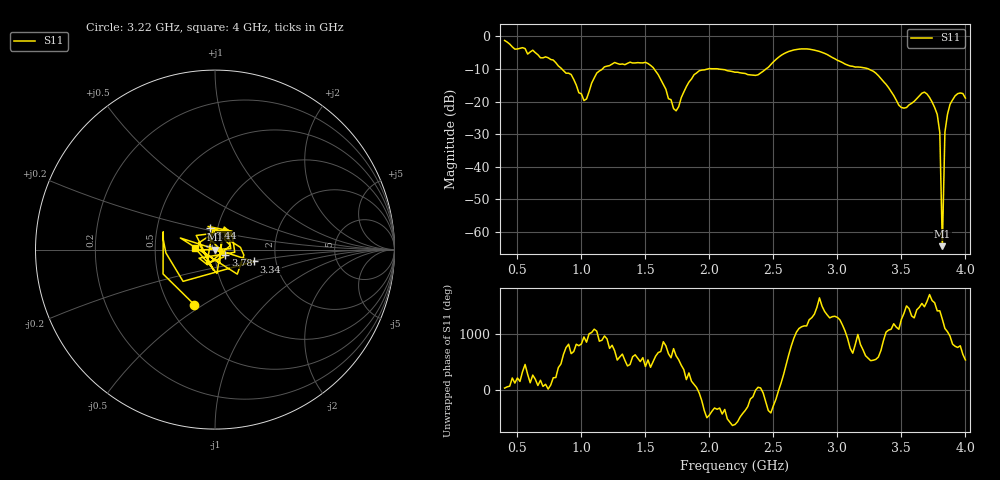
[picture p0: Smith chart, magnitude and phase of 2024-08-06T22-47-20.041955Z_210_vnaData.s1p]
!Created with skrf (http://scikit-rf.org).
# Hz S RI R 50.0
!freq ReS11 ImS11
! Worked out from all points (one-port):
!   181 points, 400 MHz to 4 GHz, reference 50 ohm
!   lowest |S11| = -64.4 dB at 3.82 GHz (marker M1), VSWR 1.00, Z = 49.9 - j0.0037 ohm
!   |S11| at or under -10 dB: 1.569 GHz to 1.984 GHz (415.6 MHz wide, 23.4 % of centre); 2.074 GHz to 2.441 GHz (367.1 MHz wide, 16.3 % of centre); 3.244 GHz to end of sweep (the widest 3 of 4)
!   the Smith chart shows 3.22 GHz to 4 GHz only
!   S11 on the Smith chart (normalised r, x): 3.22 GHz: 0.67, -0.46; 3.34 GHz: 1.53, -0.21; 3.44 GHz: 0.92, +0.23; 3.78 GHz: 1.12, -0.06; 4 GHz: 0.80, +0.02
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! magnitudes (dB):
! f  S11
! 400 MHz  -1.2
! 860 MHz  -10.5
! 920 MHz  -11.7
! 1.02 GHz  -19.7
! 1.12 GHz  -11.2
! 1.3 GHz  -8.5
! 1.52 GHz  -8.3
! 1.6 GHz  -11.7
! 1.72 GHz  -22.1
! 1.76 GHz  -21.6
! 1.92 GHz  -10.5
! 2.2 GHz  -11.0
! 2.38 GHz  -11.8
! 2.66 GHz  -4.1
! 3.1 GHz  -9.1
! 3.22 GHz  -9.7
! 3.34 GHz  -12.9
! 3.44 GHz  -18.1
! 3.5 GHz  -21.8
! 3.56 GHz  -21.0
! 3.68 GHz  -17.1
! 3.78 GHz  -23.9
! 3.8 GHz  -29.5
! 3.82 GHz  -64.4
! 3.84 GHz  -29.4
! 3.86 GHz  -23.9
! 3.92 GHz  -18.2
! 4 GHz  -18.9
